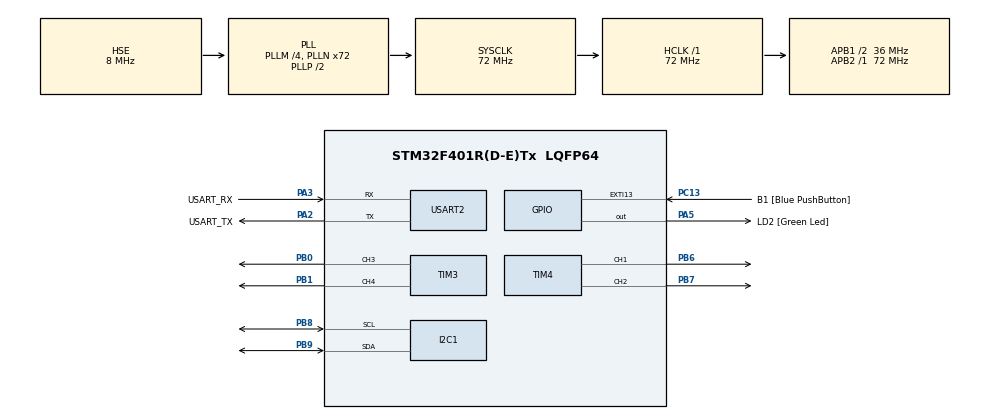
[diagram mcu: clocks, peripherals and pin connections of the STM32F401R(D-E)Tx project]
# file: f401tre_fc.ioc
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Dma.Request0=TIM4_CH1
Dma.Request1=TIM3_CH4/UP
Dma.Request2=TIM4_CH2
Dma.Request3=TIM3_CH3
Dma.Request4=USART2_TX
Dma.Request5=USART2_RX
Dma.TIM3_CH3.3.Direction=DMA_MEMORY_TO_PERIPH
Dma.TIM3_CH3.3.FIFOMode=DMA_FIFOMODE_DISABLE
Dma.TIM3_CH3.3.Instance=DMA1_Stream7
Dma.TIM3_CH3.3.MemDataAlignment=DMA_MDATAALIGN_HALFWORD
Dma.TIM3_CH3.3.MemInc=DMA_MINC_ENABLE
Dma.TIM3_CH3.3.Mode=DMA_NORMAL
Dma.TIM3_CH3.3.PeriphDataAlignment=DMA_PDATAALIGN_HALFWORD
Dma.TIM3_CH3.3.PeriphInc=DMA_PINC_DISABLE
Dma.TIM3_CH3.3.Priority=DMA_PRIORITY_HIGH
Dma.TIM3_CH4/UP.1.Direction=DMA_MEMORY_TO_PERIPH
Dma.TIM3_CH4/UP.1.FIFOMode=DMA_FIFOMODE_DISABLE
Dma.TIM3_CH4/UP.1.Instance=DMA1_Stream2
Dma.TIM3_CH4/UP.1.MemDataAlignment=DMA_MDATAALIGN_HALFWORD
Dma.TIM3_CH4/UP.1.MemInc=DMA_MINC_ENABLE
Dma.TIM3_CH4/UP.1.Mode=DMA_NORMAL
Dma.TIM3_CH4/UP.1.PeriphDataAlignment=DMA_PDATAALIGN_HALFWORD
Dma.TIM3_CH4/UP.1.PeriphInc=DMA_PINC_DISABLE
Dma.TIM3_CH4/UP.1.Priority=DMA_PRIORITY_HIGH
Dma.TIM4_CH1.0.Direction=DMA_MEMORY_TO_PERIPH
Dma.TIM4_CH1.0.FIFOMode=DMA_FIFOMODE_DISABLE
Dma.TIM4_CH1.0.Instance=DMA1_Stream0
Dma.TIM4_CH1.0.MemDataAlignment=DMA_MDATAALIGN_HALFWORD
Dma.TIM4_CH1.0.MemInc=DMA_MINC_ENABLE
Dma.TIM4_CH1.0.Mode=DMA_NORMAL
Dma.TIM4_CH1.0.PeriphDataAlignment=DMA_PDATAALIGN_HALFWORD
Dma.TIM4_CH1.0.PeriphInc=DMA_PINC_DISABLE
Dma.TIM4_CH1.0.Priority=DMA_PRIORITY_HIGH
Dma.TIM4_CH2.2.Direction=DMA_MEMORY_TO_PERIPH
Dma.TIM4_CH2.2.FIFOMode=DMA_FIFOMODE_DISABLE
Dma.TIM4_CH2.2.Instance=DMA1_Stream3
Dma.TIM4_CH2.2.MemDataAlignment=DMA_MDATAALIGN_HALFWORD
Dma.TIM4_CH2.2.MemInc=DMA_MINC_ENABLE
Dma.TIM4_CH2.2.Mode=DMA_NORMAL
Dma.TIM4_CH2.2.PeriphDataAlignment=DMA_PDATAALIGN_HALFWORD
Dma.TIM4_CH2.2.PeriphInc=DMA_PINC_DISABLE
Dma.TIM4_CH2.2.Priority=DMA_PRIORITY_HIGH
Dma.USART2_RX.5.Direction=DMA_PERIPH_TO_MEMORY
Dma.USART2_RX.5.FIFOMode=DMA_FIFOMODE_DISABLE
Dma.USART2_RX.5.Instance=DMA1_Stream5
Dma.USART2_RX.5.MemDataAlignment=DMA_MDATAALIGN_BYTE
Dma.USART2_RX.5.MemInc=DMA_MINC_ENABLE
Dma.USART2_RX.5.Mode=DMA_NORMAL
Dma.USART2_RX.5.PeriphDataAlignment=DMA_PDATAALIGN_BYTE
Dma.USART2_RX.5.PeriphInc=DMA_PINC_DISABLE
Dma.USART2_RX.5.Priority=DMA_PRIORITY_LOW
Dma.USART2_TX.4.Direction=DMA_MEMORY_TO_PERIPH
Dma.USART2_TX.4.FIFOMode=DMA_FIFOMODE_DISABLE
Dma.USART2_TX.4.Instance=DMA1_Stream6
Dma.USART2_TX.4.MemDataAlignment=DMA_MDATAALIGN_BYTE
Dma.USART2_TX.4.MemInc=DMA_MINC_ENABLE
Dma.USART2_TX.4.Mode=DMA_NORMAL
Dma.USART2_TX.4.PeriphDataAlignment=DMA_PDATAALIGN_BYTE
Dma.USART2_TX.4.PeriphInc=DMA_PINC_DISABLE
Dma.USART2_TX.4.Priority=DMA_PRIORITY_LOW
Mcu.Family=STM32F4
Mcu.Name=STM32F401R(D-E)Tx
Mcu.Package=LQFP64
NVIC.DMA1_Stream0_IRQn=true\:0\:0\:false\:false\:true\:false\:true\:true
NVIC.DMA1_Stream2_IRQn=true\:0\:0\:false\:false\:true\:false\:true\:true
NVIC.DMA1_Stream3_IRQn=true\:0\:0\:false\:false\:true\:false\:true\:true
NVIC.DMA1_Stream5_IRQn=true\:0\:0\:false\:false\:true\:false\:true\:true
NVIC.DMA1_Stream6_IRQn=true\:0\:0\:false\:false\:true\:false\:true\:true
NVIC.DMA1_Stream7_IRQn=true\:0\:0\:false\:false\:true\:false\:true\:true
NVIC.PriorityGroup=NVIC_PRIORITYGROUP_0
NVIC.USART2_IRQn=true\:0\:0\:false\:false\:true\:true\:true\:true
PA13.GPIO_Label=TMS
PA13.Mode=Serial_Wire
PA13.Signal=SYS_JTMS-SWDIO
PA14.GPIO_Label=TCK
PA14.Mode=Serial_Wire
PA14.Signal=SYS_JTCK-SWCLK
PA2.GPIO_Label=USART_TX
PA2.GPIO_Mode=GPIO_MODE_AF_PP
PA2.GPIO_PuPd=GPIO_NOPULL
PA2.GPIO_Speed=GPIO_SPEED_FREQ_LOW
PA2.Mode=Asynchronous
PA2.Signal=USART2_TX
PA3.GPIO_Label=USART_RX
PA3.GPIO_Mode=GPIO_MODE_AF_PP
PA3.GPIO_PuPd=GPIO_NOPULL
PA3.GPIO_Speed=GPIO_SPEED_FREQ_LOW
PA3.Mode=Asynchronous
PA3.Signal=USART2_RX
PA5.GPIO_Label=LD2 [Green Led]
PA5.GPIO_Mode=GPIO_MODE_OUTPUT_PP
PA5.GPIO_PuPd=GPIO_NOPULL
PA5.GPIO_Speed=GPIO_SPEED_FREQ_LOW
PA5.Signal=GPIO_Output
PB0.Signal=S_TIM3_CH3
PB1.Signal=S_TIM3_CH4
PB3.GPIO_Label=SWO
PB3.Signal=SYS_JTDO-SWO
PB6.Signal=S_TIM4_CH1
PB7.Signal=S_TIM4_CH2
PB8.Mode=I2C
PB8.Signal=I2C1_SCL
PB9.Mode=I2C
PB9.Signal=I2C1_SDA
PC13-ANTI_TAMP.GPIO_Label=B1 [Blue PushButton]
PC13-ANTI_TAMP.GPIO_ModeDefaultEXTI=GPIO_MODE_IT_FALLING
PC13-ANTI_TAMP.GPIO_PuPd=GPIO_NOPULL
PC13-ANTI_TAMP.Signal=GPXTI13
PC14-OSC32_IN.Mode=LSE-External-Oscillator
PC14-OSC32_IN.Signal=RCC_OSC32_IN
PC15-OSC32_OUT.Mode=LSE-External-Oscillator
PC15-OSC32_OUT.Signal=RCC_OSC32_OUT
PH0\ -\ OSC_IN.Mode=HSE-External-Clock-Source
PH0\ -\ OSC_IN.Signal=RCC_OSC_IN
PH1\ -\ OSC_OUT.Mode=HSE-External-Clock-Source
PH1\ -\ OSC_OUT.Signal=RCC_OSC_OUT
ProjectManager.HeapSize=0x200
ProjectManager.StackSize=0x400
ProjectManager.TargetToolchain=Makefile
RCC.48MHZClocksFreq_Value=20571428.57142857
RCC.AHBFreq_Value=72000000
RCC.APB1CLKDivider=RCC_HCLK_DIV2
RCC.APB1Freq_Value=36000000
RCC.APB1TimFreq_Value=72000000
RCC.APB2Freq_Value=72000000
RCC.APB2TimFreq_Value=72000000
RCC.CortexFreq_Value=72000000
RCC.HCLKFreq_Value=72000000
RCC.HSE_VALUE=8000000
RCC.HSI_VALUE=16000000
RCC.PLLM=4
RCC.PLLN=72
RCC.PLLQ=7
RCC.PLLSourceVirtual=RCC_PLLSOURCE_HSE
RCC.SYSCLKFreq_VALUE=72000000
RCC.SYSCLKSource=RCC_SYSCLKSOURCE_PLLCLK
RCC.VCOOutputFreq_Value=144000000
SH.S_TIM3_CH3.0=TIM3_CH3,PWM Generation3 CH3
SH.S_TIM3_CH4.0=TIM3_CH4,PWM Generation4 CH4
SH.S_TIM4_CH1.0=TIM4_CH1,PWM Generation1 CH1
SH.S_TIM4_CH2.0=TIM4_CH2,PWM Generation2 CH2
TIM2.Period=240
TIM3.Channel-PWM\ Generation3\ CH3=TIM_CHANNEL_3
TIM3.Channel-PWM\ Generation4\ CH4=TIM_CHANNEL_4
TIM4.Channel-PWM\ Generation1\ CH1=TIM_CHANNEL_1
TIM4.Channel-PWM\ Generation2\ CH2=TIM_CHANNEL_2
USART2.VirtualMode=VM_ASYNC
VP_TIM2_VS_ClockSourceINT.Mode=Internal
VP_TIM3_VS_ClockSourceINT.Mode=Internal
VP_TIM4_VS_ClockSourceINT.Mode=Internal
board=NUCLEO-F401RE

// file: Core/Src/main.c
/* USER CODE BEGIN Header */
/**
  ******************************************************************************
  * @file           : main.c
  * @brief          : Main program body
  ******************************************************************************
  * @attention
  *
  * Copyright (c) 2023 STMicroelectronics.
  * All rights reserved.
  *
  * This software is licensed under terms that can be found in the LICENSE file
  * in the root directory of this software component.
  * If no LICENSE file comes with this software, it is provided AS-IS.
  *
  ******************************************************************************
  */
/* USER CODE END Header */
#include "main.h"

/* USER CODE BEGIN Includes */
#include "LSM6DS33_drivers.h"
#include "Dshot.h"
#include "Offboard.h"
#include "Ekf.h"
/* USER CODE END Includes */

I2C_HandleTypeDef hi2c1;

TIM_HandleTypeDef htim2;
TIM_HandleTypeDef htim3;
TIM_HandleTypeDef htim4;
DMA_HandleTypeDef hdma_tim3_ch4_up;
DMA_HandleTypeDef hdma_tim3_ch3;
DMA_HandleTypeDef hdma_tim4_ch1;
DMA_HandleTypeDef hdma_tim4_ch2;

UART_HandleTypeDef huart2;
DMA_HandleTypeDef hdma_usart2_tx;
DMA_HandleTypeDef hdma_usart2_rx;

/* USER CODE BEGIN PV */
QuadMotor_HandleTypeDef qm;
/* USER CODE END PV */

void SystemClock_Config(void);
static void MX_GPIO_Init(void);
static void MX_DMA_Init(void);
static void MX_I2C1_Init(void);
static void MX_USART2_UART_Init(void);
static void MX_TIM2_Init(void);
static void MX_TIM4_Init(void);
static void MX_TIM3_Init(void);
/* USER CODE BEGIN PFP */
static void motorDance(QuadMotor_HandleTypeDef *);
/* USER CODE END PFP */

int main(void)
{
  /* USER CODE BEGIN 1 */
  QuadMotor_HandleTypeDef quadmotors;
  Offboard_TypeDef offb_dtype;

  // Set timers
  quadmotors.motors[0].tim = &htim3;
  quadmotors.motors[1].tim = &htim3;
  quadmotors.motors[2].tim = &htim4;
  quadmotors.motors[3].tim = &htim4;
  quadmotors.motors[0].channel = TIM_CHANNEL_3;
  quadmotors.motors[1].channel = TIM_CHANNEL_4;
  quadmotors.motors[2].channel = TIM_CHANNEL_1;
  quadmotors.motors[3].channel = TIM_CHANNEL_2;

  // Set UART handle for offboard lib to reach
  offb_dtype.huart = &huart2;
  offb_dtype.quad_motors = &quad_motors->motors;
  qm = quadmotors;
  /* USER CODE END 1 */

  /* MCU Configuration--------------------------------------------------------*/

  /* Reset of all peripherals, Initializes the Flash interface and the Systick. */
  HAL_Init();

  /* Configure the system clock */
  SystemClock_Config();

  /* Initialize all configured peripherals */
  MX_GPIO_Init();
  MX_DMA_Init();
  MX_I2C1_Init();
  MX_USART2_UART_Init();
  MX_TIM2_Init();
  MX_TIM4_Init();
  MX_TIM3_Init();
  /* USER CODE BEGIN 2 */

  HAL_Delay(100);
  DSHOT_Init(&quadmotors);
  DSHOT_Arm();
  HAL_Delay(10);
  Offboard_Init(&offb_dtype, &quad_motors->motors);

  for (int i = 0; i < 4; i++)
    quadmotors.motors[i].speed = MIN_THROTTLE;

  /* USER CODE END 2 */

  /* Infinite loop */
  /* USER CODE BEGIN WHILE */
  // uint16_t speed = MIN_THROTTLE;
  while (1)
  {
    // HAL_Delay(1);
    DSHOT_Command_All_Motors();
    /* USER CODE END WHILE */
  }
}

void SystemClock_Config(void)
{
  RCC_OscInitTypeDef RCC_OscInitStruct = {0};
  RCC_ClkInitTypeDef RCC_ClkInitStruct = {0};

  /** Configure the main internal regulator output voltage
  */
  __HAL_RCC_PWR_CLK_ENABLE();
  __HAL_PWR_VOLTAGESCALING_CONFIG(PWR_REGULATOR_VOLTAGE_SCALE2);

  /** Initializes the RCC Oscillators according to the specified parameters
  * in the RCC_OscInitTypeDef structure.
  */
  RCC_OscInitStruct.OscillatorType = RCC_OSCILLATORTYPE_HSE;
  RCC_OscInitStruct.HSEState = RCC_HSE_BYPASS;
  RCC_OscInitStruct.PLL.PLLState = RCC_PLL_ON;
  RCC_OscInitStruct.PLL.PLLSource = RCC_PLLSOURCE_HSE;
  RCC_OscInitStruct.PLL.PLLM = 4;
  RCC_OscInitStruct.PLL.PLLN = 72;
  RCC_OscInitStruct.PLL.PLLP = RCC_PLLP_DIV2;
  RCC_OscInitStruct.PLL.PLLQ = 7;
  if (HAL_RCC_OscConfig(&RCC_OscInitStruct) != HAL_OK)
  {
    Error_Handler();
  }

  /** Initializes the CPU, AHB and APB buses clocks
  */
  RCC_ClkInitStruct.ClockType = RCC_CLOCKTYPE_HCLK|RCC_CLOCKTYPE_SYSCLK
                              |RCC_CLOCKTYPE_PCLK1|RCC_CLOCKTYPE_PCLK2;
  RCC_ClkInitStruct.SYSCLKSource = RCC_SYSCLKSOURCE_PLLCLK;
  RCC_ClkInitStruct.AHBCLKDivider = RCC_SYSCLK_DIV1;
  RCC_ClkInitStruct.APB1CLKDivider = RCC_HCLK_DIV2;
  RCC_ClkInitStruct.APB2CLKDivider = RCC_HCLK_DIV1;

  if (HAL_RCC_ClockConfig(&RCC_ClkInitStruct, FLASH_LATENCY_2) != HAL_OK)
  {
    Error_Handler();
  }
}

static void MX_I2C1_Init(void)
{

  hi2c1.Instance = I2C1;
  hi2c1.Init.ClockSpeed = 100000;
  hi2c1.Init.DutyCycle = I2C_DUTYCYCLE_2;
  hi2c1.Init.OwnAddress1 = 0;
  hi2c1.Init.AddressingMode = I2C_ADDRESSINGMODE_7BIT;
  hi2c1.Init.DualAddressMode = I2C_DUALADDRESS_DISABLE;
  hi2c1.Init.OwnAddress2 = 0;
  hi2c1.Init.GeneralCallMode = I2C_GENERALCALL_DISABLE;
  hi2c1.Init.NoStretchMode = I2C_NOSTRETCH_DISABLE;
  if (HAL_I2C_Init(&hi2c1) != HAL_OK)
  {
    Error_Handler();
  }

}

static void MX_TIM2_Init(void)
{

  TIM_ClockConfigTypeDef sClockSourceConfig = {0};
  TIM_MasterConfigTypeDef sMasterConfig = {0};

  htim2.Instance = TIM2;
  htim2.Init.Prescaler = 0;
  htim2.Init.CounterMode = TIM_COUNTERMODE_UP;
  htim2.Init.Period = 240;
  htim2.Init.ClockDivision = TIM_CLOCKDIVISION_DIV1;
  htim2.Init.AutoReloadPreload = TIM_AUTORELOAD_PRELOAD_DISABLE;
  if (HAL_TIM_Base_Init(&htim2) != HAL_OK)
  {
    Error_Handler();
  }
  sClockSourceConfig.ClockSource = TIM_CLOCKSOURCE_INTERNAL;
  if (HAL_TIM_ConfigClockSource(&htim2, &sClockSourceConfig) != HAL_OK)
  {
    Error_Handler();
  }
  sMasterConfig.MasterOutputTrigger = TIM_TRGO_RESET;
  sMasterConfig.MasterSlaveMode = TIM_MASTERSLAVEMODE_DISABLE;
  if (HAL_TIMEx_MasterConfigSynchronization(&htim2, &sMasterConfig) != HAL_OK)
  {
    Error_Handler();
  }

}

static void MX_TIM3_Init(void)
{

  TIM_ClockConfigTypeDef sClockSourceConfig = {0};
  TIM_MasterConfigTypeDef sMasterConfig = {0};
  TIM_OC_InitTypeDef sConfigOC = {0};

  htim3.Instance = TIM3;
  htim3.Init.Prescaler = 0;
  htim3.Init.CounterMode = TIM_COUNTERMODE_UP;
  htim3.Init.Period = 65535;
  htim3.Init.ClockDivision = TIM_CLOCKDIVISION_DIV1;
  htim3.Init.AutoReloadPreload = TIM_AUTORELOAD_PRELOAD_DISABLE;
  if (HAL_TIM_Base_Init(&htim3) != HAL_OK)
  {
    Error_Handler();
  }
  sClockSourceConfig.ClockSource = TIM_CLOCKSOURCE_INTERNAL;
  if (HAL_TIM_ConfigClockSource(&htim3, &sClockSourceConfig) != HAL_OK)
  {
    Error_Handler();
  }
  if (HAL_TIM_PWM_Init(&htim3) != HAL_OK)
  {
    Error_Handler();
  }
  sMasterConfig.MasterOutputTrigger = TIM_TRGO_RESET;
  sMasterConfig.MasterSlaveMode = TIM_MASTERSLAVEMODE_DISABLE;
  if (HAL_TIMEx_MasterConfigSynchronization(&htim3, &sMasterConfig) != HAL_OK)
  {
    Error_Handler();
  }
  sConfigOC.OCMode = TIM_OCMODE_PWM1;
  sConfigOC.Pulse = 0;
  sConfigOC.OCPolarity = TIM_OCPOLARITY_HIGH;
  sConfigOC.OCFastMode = TIM_OCFAST_DISABLE;
  if (HAL_TIM_PWM_ConfigChannel(&htim3, &sConfigOC, TIM_CHANNEL_3) != HAL_OK)
  {
    Error_Handler();
  }
  if (HAL_TIM_PWM_ConfigChannel(&htim3, &sConfigOC, TIM_CHANNEL_4) != HAL_OK)
  {
    Error_Handler();
  }
  HAL_TIM_MspPostInit(&htim3);

}

static void MX_TIM4_Init(void)
{

  TIM_ClockConfigTypeDef sClockSourceConfig = {0};
  TIM_MasterConfigTypeDef sMasterConfig = {0};
  TIM_OC_InitTypeDef sConfigOC = {0};

  htim4.Instance = TIM4;
  htim4.Init.Prescaler = 0;
  htim4.Init.CounterMode = TIM_COUNTERMODE_UP;
  htim4.Init.Period = 65535;
  htim4.Init.ClockDivision = TIM_CLOCKDIVISION_DIV1;
  htim4.Init.AutoReloadPreload = TIM_AUTORELOAD_PRELOAD_DISABLE;
  if (HAL_TIM_Base_Init(&htim4) != HAL_OK)
  {
    Error_Handler();
  }
  sClockSourceConfig.ClockSource = TIM_CLOCKSOURCE_INTERNAL;
  if (HAL_TIM_ConfigClockSource(&htim4, &sClockSourceConfig) != HAL_OK)
  {
    Error_Handler();
  }
  if (HAL_TIM_PWM_Init(&htim4) != HAL_OK)
  {
    Error_Handler();
  }
  sMasterConfig.MasterOutputTrigger = TIM_TRGO_RESET;
  sMasterConfig.MasterSlaveMode = TIM_MASTERSLAVEMODE_DISABLE;
  if (HAL_TIMEx_MasterConfigSynchronization(&htim4, &sMasterConfig) != HAL_OK)
  {
    Error_Handler();
  }
  sConfigOC.OCMode = TIM_OCMODE_PWM1;
  sConfigOC.Pulse = 0;
  sConfigOC.OCPolarity = TIM_OCPOLARITY_HIGH;
  sConfigOC.OCFastMode = TIM_OCFAST_DISABLE;
  if (HAL_TIM_PWM_ConfigChannel(&htim4, &sConfigOC, TIM_CHANNEL_1) != HAL_OK)
  {
    Error_Handler();
  }
  if (HAL_TIM_PWM_ConfigChannel(&htim4, &sConfigOC, TIM_CHANNEL_2) != HAL_OK)
  {
    Error_Handler();
  }
  HAL_TIM_MspPostInit(&htim4);

}

static void MX_USART2_UART_Init(void)
{

  huart2.Instance = USART2;
  huart2.Init.BaudRate = 115200;
  huart2.Init.WordLength = UART_WORDLENGTH_8B;
  huart2.Init.StopBits = UART_STOPBITS_1;
  huart2.Init.Parity = UART_PARITY_NONE;
  huart2.Init.Mode = UART_MODE_TX_RX;
  huart2.Init.HwFlowCtl = UART_HWCONTROL_NONE;
  huart2.Init.OverSampling = UART_OVERSAMPLING_16;
  if (HAL_UART_Init(&huart2) != HAL_OK)
  {
    Error_Handler();
  }

}

static void MX_DMA_Init(void)
{

  /* DMA controller clock enable */
  __HAL_RCC_DMA1_CLK_ENABLE();

  /* DMA interrupt init */
  /* DMA1_Stream0_IRQn interrupt configuration */
  HAL_NVIC_SetPriority(DMA1_Stream0_IRQn, 0, 0);
  HAL_NVIC_EnableIRQ(DMA1_Stream0_IRQn);
  /* DMA1_Stream2_IRQn interrupt configuration */
  HAL_NVIC_SetPriority(DMA1_Stream2_IRQn, 0, 0);
  HAL_NVIC_EnableIRQ(DMA1_Stream2_IRQn);
  /* DMA1_Stream3_IRQn interrupt configuration */
  HAL_NVIC_SetPriority(DMA1_Stream3_IRQn, 0, 0);
  HAL_NVIC_EnableIRQ(DMA1_Stream3_IRQn);
  /* DMA1_Stream5_IRQn interrupt configuration */
  HAL_NVIC_SetPriority(DMA1_Stream5_IRQn, 0, 0);
  HAL_NVIC_EnableIRQ(DMA1_Stream5_IRQn);
  /* DMA1_Stream6_IRQn interrupt configuration */
  HAL_NVIC_SetPriority(DMA1_Stream6_IRQn, 0, 0);
  HAL_NVIC_EnableIRQ(DMA1_Stream6_IRQn);
  /* DMA1_Stream7_IRQn interrupt configuration */
  HAL_NVIC_SetPriority(DMA1_Stream7_IRQn, 0, 0);
  HAL_NVIC_EnableIRQ(DMA1_Stream7_IRQn);

}

static void MX_GPIO_Init(void)
{
  GPIO_InitTypeDef GPIO_InitStruct = {0};

  /* GPIO Ports Clock Enable */
  __HAL_RCC_GPIOC_CLK_ENABLE();
  __HAL_RCC_GPIOH_CLK_ENABLE();
  __HAL_RCC_GPIOA_CLK_ENABLE();
  __HAL_RCC_GPIOB_CLK_ENABLE();

  /*Configure GPIO pin Output Level */
  HAL_GPIO_WritePin(LD2_GPIO_Port, LD2_Pin, GPIO_PIN_RESET);

  /*Configure GPIO pin : B1_Pin */
  GPIO_InitStruct.Pin = B1_Pin;
  GPIO_InitStruct.Mode = GPIO_MODE_IT_FALLING;
  GPIO_InitStruct.Pull = GPIO_NOPULL;
  HAL_GPIO_Init(B1_GPIO_Port, &GPIO_InitStruct);

  /*Configure GPIO pin : LD2_Pin */
  GPIO_InitStruct.Pin = LD2_Pin;
  GPIO_InitStruct.Mode = GPIO_MODE_OUTPUT_PP;
  GPIO_InitStruct.Pull = GPIO_NOPULL;
  GPIO_InitStruct.Speed = GPIO_SPEED_FREQ_LOW;
  HAL_GPIO_Init(LD2_GPIO_Port, &GPIO_InitStruct);

}

/* USER CODE BEGIN 4 */
static void motorDance(QuadMotor_HandleTypeDef *quadmotors)
{
  uint16_t speed = MIN_THROTTLE;
  for (int i = 0; i < 4; i++)
    {
      while (speed < (MAX_THROTTLE/2))
      {
        for (int j = 0; j < 4; j++)
        {
          if (i == j)
            // DSHOT_command_motor(&(quadmotors->motors[j].tim), speed);
            quadmotors->motors[j].speed = speed;
          else
            // DSHOT_command_motor(&(quadmotors->motors[j].tim), MIN_THROTTLE);
            quadmotors->motors[j].speed = MIN_THROTTLE;
          DSHOT_Command_All_Motors();
        }
        speed += 5;
        // HAL_Delay(5);
      }
      speed = MAX_THROTTLE/2;

      while (speed > MIN_THROTTLE)
      {
        for (int j = 0; j < 4; j++)
        {
          if (i == j)
            // DSHOT_command_motor(&(quadmotors->motors[j].tim), speed);
            quadmotors->motors[j].speed = speed;
          else
            // DSHOT_command_motor(&(quadmotors->motors[j].tim), MIN_THROTTLE);
            quadmotors->motors[j].speed = MIN_THROTTLE;
          DSHOT_Command_All_Motors();
        }
        speed -= 5;
        // HAL_Delay(5);
      }
      speed = MIN_THROTTLE;
    }

//     // HAL_Delay(5);
}

void HAL_UART_RxCpltCallback(UART_HandleTypeDef *huart)
{
  Offboard_Check_Buffer(qm.motors);
}

// void HAL_UART_TxCpltCallback(UART_HandleTypeDef *huart)
// {
//   tx_done();
// }
/* USER CODE END 4 */

void Error_Handler(void)
{
  __disable_irq();
  while (1)
  {
  }
}
